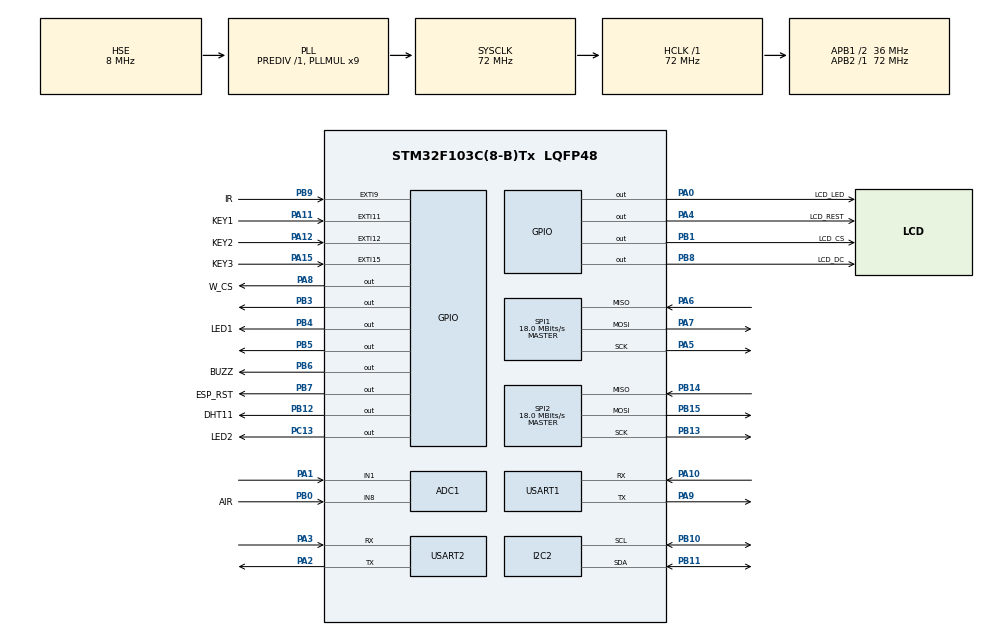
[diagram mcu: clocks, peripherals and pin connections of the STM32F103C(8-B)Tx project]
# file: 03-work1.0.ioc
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ADC1.Channel-0\#ChannelRegularConversion=ADC_CHANNEL_8
ADC1.NbrOfConversionFlag=1
ADC1.Rank-0\#ChannelRegularConversion=1
ADC1.SamplingTime-0\#ChannelRegularConversion=ADC_SAMPLETIME_239CYCLES_5
ADC1.master=1
FREERTOS.HEAP_NUMBER_OF_BYTES=8192
FREERTOS.Tasks01=defaultTask,0,256,StartDefaultTask,Default,NULL,Dynamic,NULL,NULL
Mcu.Family=STM32F1
Mcu.Name=STM32F103C(8-B)Tx
Mcu.Package=LQFP48
NVIC.EXTI15_10_IRQn=true\:5\:0\:false\:false\:true\:true\:true\:true\:true
NVIC.PriorityGroup=NVIC_PRIORITYGROUP_4
PA0-WKUP.GPIO_Label=LCD_LED
PA0-WKUP.GPIO_Speed=GPIO_SPEED_FREQ_HIGH
PA0-WKUP.Signal=GPIO_Output
PA1.Signal=ADCx_IN1
PA10.Mode=Asynchronous
PA10.Signal=USART1_RX
PA11.GPIO_Label=KEY1
PA11.GPIO_PuPd=GPIO_PULLUP
PA11.Signal=GPXTI11
PA12.GPIO_Label=KEY2
PA12.GPIO_PuPd=GPIO_PULLUP
PA12.Signal=GPXTI12
PA13.Mode=Serial_Wire
PA13.Signal=SYS_JTMS-SWDIO
PA14.Mode=Serial_Wire
PA14.Signal=SYS_JTCK-SWCLK
PA15.GPIO_Label=KEY3
PA15.GPIO_PuPd=GPIO_PULLUP
PA15.Signal=GPXTI15
PA2.Mode=Asynchronous
PA2.Signal=USART2_TX
PA3.Mode=Asynchronous
PA3.Signal=USART2_RX
PA4.GPIO_Label=LCD_REST
PA4.Signal=GPIO_Output
PA5.Mode=Full_Duplex_Master
PA5.Signal=SPI1_SCK
PA6.Mode=Full_Duplex_Master
PA6.Signal=SPI1_MISO
PA7.Mode=Full_Duplex_Master
PA7.Signal=SPI1_MOSI
PA8.GPIO_Label=W_CS
PA8.Signal=GPIO_Output
PA9.Mode=Asynchronous
PA9.Signal=USART1_TX
PB0.GPIO_Label=AIR
PB0.Signal=ADCx_IN8
PB1.GPIO_Label=LCD_CS
PB1.GPIO_Speed=GPIO_SPEED_FREQ_HIGH
PB1.Signal=GPIO_Output
PB10.Mode=I2C
PB10.Signal=I2C2_SCL
PB11.Mode=I2C
PB11.Signal=I2C2_SDA
PB12.GPIO_Label=DHT11
PB12.GPIO_PuPd=GPIO_PULLUP
PB12.Signal=GPIO_Output
PB13.Mode=Full_Duplex_Master
PB13.Signal=SPI2_SCK
PB14.Mode=Full_Duplex_Master
PB14.Signal=SPI2_MISO
PB15.Mode=Full_Duplex_Master
PB15.Signal=SPI2_MOSI
PB3.Signal=GPIO_Output
PB4.GPIO_Label=LED1
PB4.GPIO_ModeDefaultOutputPP=GPIO_MODE_OUTPUT_PP
PB4.GPIO_Speed=GPIO_SPEED_FREQ_HIGH
PB4.Signal=GPIO_Output
PB5.Signal=GPIO_Output
PB6.GPIO_Label=BUZZ
PB6.GPIO_Speed=GPIO_SPEED_FREQ_HIGH
PB6.Signal=GPIO_Output
PB7.GPIO_Label=ESP_RST
PB7.Signal=GPIO_Output
PB8.GPIO_Label=LCD_DC
PB8.GPIO_Speed=GPIO_SPEED_FREQ_HIGH
PB8.Signal=GPIO_Output
PB9.GPIO_Label=IR
PB9.GPIO_ModeDefaultEXTI=GPIO_MODE_IT_FALLING
PB9.Signal=GPXTI9
PC13-TAMPER-RTC.GPIO_Label=LED2
PC13-TAMPER-RTC.GPIO_Speed=GPIO_SPEED_FREQ_HIGH
PC13-TAMPER-RTC.Signal=GPIO_Output
PC14-OSC32_IN.Mode=LSE-External-Oscillator
PC14-OSC32_IN.Signal=RCC_OSC32_IN
PC15-OSC32_OUT.Mode=LSE-External-Oscillator
PC15-OSC32_OUT.Signal=RCC_OSC32_OUT
PD0-OSC_IN.Mode=HSE-External-Oscillator
PD0-OSC_IN.Signal=RCC_OSC_IN
PD1-OSC_OUT.Mode=HSE-External-Oscillator
PD1-OSC_OUT.Signal=RCC_OSC_OUT
ProjectManager.HeapSize=0x200
ProjectManager.StackSize=0x400
ProjectManager.TargetToolchain=MDK-ARM V5.32
RCC.ADCPresc=RCC_ADCPCLK2_DIV6
RCC.AHBFreq_Value=72000000
RCC.APB1CLKDivider=RCC_HCLK_DIV2
RCC.APB1Freq_Value=36000000
RCC.APB1TimFreq_Value=72000000
RCC.APB2Freq_Value=72000000
RCC.APB2TimFreq_Value=72000000
RCC.HCLKFreq_Value=72000000
RCC.PLLMUL=RCC_PLL_MUL9
RCC.PLLSourceVirtual=RCC_PLLSOURCE_HSE
RCC.SYSCLKFreq_VALUE=72000000
RCC.SYSCLKSource=RCC_SYSCLKSOURCE_PLLCLK
RCC.USBFreq_Value=72000000
SH.ADCx_IN1.0=ADC1_IN1,IN1
SH.ADCx_IN8.0=ADC1_IN8,IN8
SPI1.BaudRatePrescaler=SPI_BAUDRATEPRESCALER_4
SPI1.CalculateBaudRate=18.0 MBits/s
SPI1.Direction=SPI_DIRECTION_2LINES
SPI1.Mode=SPI_MODE_MASTER
SPI1.VirtualType=VM_MASTER
SPI2.CalculateBaudRate=18.0 MBits/s
SPI2.Direction=SPI_DIRECTION_2LINES
SPI2.Mode=SPI_MODE_MASTER
SPI2.VirtualType=VM_MASTER
USART1.VirtualMode=VM_ASYNC
USART2.VirtualMode=VM_ASYNC
VP_FREERTOS_VS_CMSIS_V1.Mode=CMSIS_V1
board=custom

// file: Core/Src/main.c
/* USER CODE BEGIN Header */
/**
  ******************************************************************************
  * @file           : main.c
  * @brief          : Main program body
  ******************************************************************************
  * @attention
  *
  * Copyright (c) 2026 STMicroelectronics.
  * All rights reserved.
  *
  * This software is licensed under terms that can be found in the LICENSE file
  * in the root directory of this software component.
  * If no LICENSE file comes with this software, it is provided AS-IS.
  *
  ******************************************************************************
  */
/* USER CODE END Header */
#include "main.h"
#include "cmsis_os.h"
#include "adc.h"
#include "i2c.h"
#include "spi.h"
#include "usart.h"
#include "gpio.h"

/* USER CODE BEGIN Includes */
#include "bsp_delay.h"
#include "bsp_debug.h"
#include "bsp_esp.h"
#include "flash_param.h"
#include "flash_ops.h"

/* USER CODE END Includes */

void SystemClock_Config(void);
void MX_FREERTOS_Init(void);

int main(void)
{

  /* MCU Configuration--------------------------------------------------------*/

  /* Reset of all peripherals, Initializes the Flash interface and the Systick. */
  HAL_Init();

  /* Configure the system clock */
  SystemClock_Config();

  /* Initialize all configured peripherals */
  MX_GPIO_Init();
  MX_ADC1_Init();
  MX_I2C2_Init();
  MX_SPI1_Init();
  MX_SPI2_Init();
  MX_USART1_UART_Init();
  MX_USART2_UART_Init();
  /* USER CODE BEGIN 2 */

  BSP_Delay_Init();   /* 使能 DWT 微秒计时（DHT11/BMP180 等驱动依赖） */
  ESP_Start();
  HAL_Delay(1500);
  ESP_SendATStateQuery();
  /* USER CODE END 2 */

  /* Call init function for freertos objects (in cmsis_os2.c) */
  MX_FREERTOS_Init();

  /* Start scheduler */
  osKernelStart();

  /* We should never get here as control is now taken by the scheduler */

  /* Infinite loop */
  while (1)
  {

  }
}

void SystemClock_Config(void)
{
  RCC_OscInitTypeDef RCC_OscInitStruct = {0};
  RCC_ClkInitTypeDef RCC_ClkInitStruct = {0};
  RCC_PeriphCLKInitTypeDef PeriphClkInit = {0};

  /** Initializes the RCC Oscillators according to the specified parameters
  * in the RCC_OscInitTypeDef structure.
  */
  RCC_OscInitStruct.OscillatorType = RCC_OSCILLATORTYPE_HSE;
  RCC_OscInitStruct.HSEState = RCC_HSE_ON;
  RCC_OscInitStruct.HSEPredivValue = RCC_HSE_PREDIV_DIV1;
  RCC_OscInitStruct.HSIState = RCC_HSI_ON;
  RCC_OscInitStruct.PLL.PLLState = RCC_PLL_ON;
  RCC_OscInitStruct.PLL.PLLSource = RCC_PLLSOURCE_HSE;
  RCC_OscInitStruct.PLL.PLLMUL = RCC_PLL_MUL9;
  if (HAL_RCC_OscConfig(&RCC_OscInitStruct) != HAL_OK)
  {
    Error_Handler();
  }

  /** Initializes the CPU, AHB and APB buses clocks
  */
  RCC_ClkInitStruct.ClockType = RCC_CLOCKTYPE_HCLK|RCC_CLOCKTYPE_SYSCLK
                              |RCC_CLOCKTYPE_PCLK1|RCC_CLOCKTYPE_PCLK2;
  RCC_ClkInitStruct.SYSCLKSource = RCC_SYSCLKSOURCE_PLLCLK;
  RCC_ClkInitStruct.AHBCLKDivider = RCC_SYSCLK_DIV1;
  RCC_ClkInitStruct.APB1CLKDivider = RCC_HCLK_DIV2;
  RCC_ClkInitStruct.APB2CLKDivider = RCC_HCLK_DIV1;

  if (HAL_RCC_ClockConfig(&RCC_ClkInitStruct, FLASH_LATENCY_2) != HAL_OK)
  {
    Error_Handler();
  }
  PeriphClkInit.PeriphClockSelection = RCC_PERIPHCLK_ADC;
  PeriphClkInit.AdcClockSelection = RCC_ADCPCLK2_DIV6;
  if (HAL_RCCEx_PeriphCLKConfig(&PeriphClkInit) != HAL_OK)
  {
    Error_Handler();
  }
}

void Error_Handler(void)
{
  __disable_irq();
  while (1)
  {
  }
}

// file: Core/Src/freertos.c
/* USER CODE BEGIN Header */
/**
  ******************************************************************************
  * File Name          : freertos.c
  * Description        : Code for freertos applications
  ******************************************************************************
  * @attention
  *
  * Copyright (c) 2026 STMicroelectronics.
  * All rights reserved.
  *
  * This software is licensed under terms that can be found in the LICENSE file
  * in the root directory of this software component.
  * If no LICENSE file comes with this software, it is provided AS-IS.
  *
  ******************************************************************************
  */
/* USER CODE END Header */

#include "FreeRTOS.h"
#include "task.h"
#include "main.h"
#include "cmsis_os.h"

/* USER CODE BEGIN Includes */
#include "bsp_debug.h"
#include "led.h"
#include "buzzer.h"
#include "relay.h"
#include "dht11.h"
#include "mq5.h"
#include "light.h"
#include "bmp180.h"
#include "w25q64.h"
#include "lcd.h"
#include "bsp_key.h"
#include "infrared.h"   /* 红外适配层（内部含 ir_decode.h 解码器） */
#include "gui_page.h"
#include "app_data.h"
#include <string.h>   /* memcmp 用 */
#include "bsp_esp.h"   /* ESP 接口层 */
#include "fw_ota.h"    /* M9.3d: OTA 会话状态机 */
#include "usart.h"
#include <stdio.h>    /* snprintf */
#include <stdlib.h>   /* strtol（S4：解析下行设置项的值，不用 atof 以避开浮点库） */

/* USER CODE END Includes */

/* USER CODE BEGIN Variables */
static void StartSensorTask(void const * argument);
static void StartCtrlTask(void const * argument);

osMutexDef(appMutex);       /*定义互斥锁*/
osMutexId xAppMutex = NULL; /*句柄在 Init 里创建 , (互斥锁的名称)*/
osThreadDef(sensorTask, StartSensorTask, osPriorityNormal, 0, 256); /* 传感器任务 */
osThreadDef(ctrlTask, StartCtrlTask, osPriorityNormal, 0, 256);     /* 控制任务：报警判定+输出 */

/* USER CODE END Variables */
osThreadId defaultTaskHandle;

void StartDefaultTask(void const * argument);

void MX_FREERTOS_Init(void); /* (MISRA C 2004 rule 8.1) */

/* GetIdleTaskMemory prototype (linked to static allocation support) */
void vApplicationGetIdleTaskMemory( StaticTask_t **ppxIdleTaskTCBBuffer, StackType_t **ppxIdleTaskStackBuffer, uint32_t *pulIdleTaskStackSize );

/* USER CODE BEGIN GET_IDLE_TASK_MEMORY */
static StaticTask_t xIdleTaskTCBBuffer;
static StackType_t xIdleStack[configMINIMAL_STACK_SIZE];

void vApplicationGetIdleTaskMemory( StaticTask_t **ppxIdleTaskTCBBuffer, StackType_t **ppxIdleTaskStackBuffer, uint32_t *pulIdleTaskStackSize )
{
  *ppxIdleTaskTCBBuffer = &xIdleTaskTCBBuffer;
  *ppxIdleTaskStackBuffer = &xIdleStack[0];
  *pulIdleTaskStackSize = configMINIMAL_STACK_SIZE;
  /* place for user code */
}
/* USER CODE END GET_IDLE_TASK_MEMORY */

void MX_FREERTOS_Init(void) {
  /* USER CODE BEGIN Init */
  xAppMutex = osMutexCreate(osMutex(appMutex)); /* 创建互斥锁 , 在任务跑起来之前存在*/
  ESP_TxMutexInit();                  /* ESP 发送仲裁锁: 同处创建, 见 bsp_esp.c */
  /* USER CODE END Init */

  /* Create the thread(s) */
  /* definition and creation of defaultTask */
  osThreadDef(defaultTask, StartDefaultTask, osPriorityNormal, 0, 256);
  defaultTaskHandle = osThreadCreate(osThread(defaultTask), NULL);

  /* USER CODE BEGIN RTOS_THREADS */
  /* add threads, ... */
  osThreadCreate(osThread(sensorTask), NULL);
  osThreadCreate(osThread(ctrlTask), NULL);
  /* USER CODE END RTOS_THREADS */

}

/* USER CODE BEGIN Header_StartDefaultTask */

/* UI 已迁往 HARDWARE/lcd/page_main.c（仪表盘页）和 page_setting.c（设置页），
 * 由 gui_page.c 页面管理器统一调度；本文件只负责"采集数据 + 喂页面" */

/**
  * @brief  W25Q64 自检：擦 → 写 → 读回比对（只在上电时跑一次）
  * @note   Flash 驱动的标准验收流程；函数必须定义在任务函数"外面"
  */
static void W25Q64_SelfTest(void)
{
    uint8_t  wr[16] = "Hello W25Q64!";
    uint8_t  rd[16] = {0};
    uint32_t addr   = 0x000000;   /* 扇区0，页0 */

    if (W25Q64_Init() != 0)
    {
        DBG_Printf("W25Q64: Init FAIL (ID error)\r\n");
        return;
    }

    W25Q64_EraseSector(addr);
    W25Q64_WritePage(addr, wr, 14);
    W25Q64_Read(addr, rd, 14);

    DBG_Printf("W25Q64: rd=%s  %s\r\n", rd,
               (memcmp(wr, rd, 14) == 0) ? "[OK]" : "[MISMATCH]");
}

static void StartSensorTask(void const * argument)
{
  DHT11_Data_t dht;
  uint8_t ret;
  int32_t bmp_p , bmp_t;
  uint8_t bmp_ok;
  uint16_t mq5_raw, mq5_level;
  uint16_t light_level;
  uint8_t alarm_now;          /* M3.3: 锁内拷出的报警状态(发云端用) */
  uint16_t set_temp_hi;       /* M3.5/S2: 锁内拷出的当前生效阈值(回传给云端) */
  uint16_t set_sample_ms;     /* M3.5/S2: 锁内拷出的当前采样周期 */
  uint32_t last_sample_tick;  /* M3.5/S5: 上次真正采样的时刻(HAL_GetTick, ms) */
  uint8_t  first_loop;        /* M3.5/S5: 首圈强制采样(否则大周期时首帧发的是未初始化局部变量) */

  last_sample_tick = 0;
  first_loop = 1;

  LIGHT_Init();
  /* BMP180 初始化（芯片在位检测 + 读校准系数） */
  ret = BMP180_Init();
  if (ret != 0)
  {
    DBG_Printf("BMP180 init FAIL, err=%d\r\n", ret);
    // g_app_view.bmp_ok = 0;
  }
  else
  {
    // DBG_Printf("BMP180 init OK\r\n");
  }

  for(;;)
  {
      /* ---- S4b: 落盘云端新设置 ----
       * Setting_Save() 是扇区擦写（几十~几百 ms），只配待在 SensorTask 这种慢任务里，
       * 绝不能进 UITask 的 20ms 循环（同坑 24）。
       * 顺序讲究"先清标志、再保存"：若保存期间又来了新 SET，标志会再次置位，
       * 下一圈再存一次（多存一次无害）；反过来"先存后清"则可能把保存期间
       * 到达的新设置丢掉（存的是旧值、标志还被清了）。
       * 注：保存期间 g_set 理论上可能被云端再次修改（保存没拿锁，锁内不做慢事），
       * 极端情况 Flash 里会存到"新旧混合"的值 —— 每个字段都合法，Load 校验能过，
       * 影响仅限一次设置周期，可接受。 */
      /* M9.3d: OTA 会话独占 W25Q64(staging 写入), 期间推迟落盘 ——
       * 脏标志保持置位, OTA 结束/放弃后的下一圈补存, 设置不丢。
       * (两条路都用 W25Q64 却没有互斥, 靠"同一时刻只有一个使用者"约定) */
      if (g_set_dirty && (FWOTA_Active() == 0U))
      {
          g_set_dirty = 0U;
          if (Setting_Save() != 0)
          {
              DBG_Printf("SET: Flash save FAIL\r\n");
          }
      }

      /* ---- M3.5/S5: 采集分频 —— "采样"与"上报"解耦 ----
       * 上报固定 2s 一圈（保活必须），但只有距上次采样 ≥ sample_ms 才真正读传感器；
       * 未到期的圈沿用上一轮的局部变量值 —— 上行帧内容不变、保活不断。
       * 这就是把局部变量声明在 for(;;) 外面的原因：跨圈保持（C 作用域设计）。
       *
       * 两处细节:
       * ① 减法写法 (now - last) >= period 而不是 (now >= last + period)：
       *    HAL_GetTick 49.7 天回绕，无符号减法天然免疫回绕，加法则会翻车。
       * ② first_loop 首圈强制采样：开机时 tick 只有 ~2s，若 sample_ms 设了
       *    60000，没有这个标志首圈就不采样，发出去的是未初始化局部变量（垃圾）。
       *
       * DHT11 物理限制：单次读取 ≥1s（数据手册）。sample_ms < 2000 时 DHT 会
       * 频繁 FAIL，帧自动降级为不带 temp/humi（宁缺不假）—— 设计行为非故障。
       * g_set.sample_ms 是 16 位对齐读，单条指令完成，原子，无需加锁。 */
      if (first_loop ||
          ((HAL_GetTick() - last_sample_tick) >= (uint32_t)g_set.sample_ms))
      {
          first_loop = 0;
          last_sample_tick = HAL_GetTick();

          /* DHT11 温湿度 */
          ret = DHT11_Read(&dht);
          mq5_raw = MQ5_ReadRaw();
          mq5_level = MQ5_ReadLevel();
          light_level = LIGHT_ReadLevel();
          bmp_t = BMP180_ReadTemp();
          bmp_p = BMP180_ReadPressure(2);
          bmp_ok = ((bmp_t != 0x7FFF) && (bmp_p != 0));
      }
      /* else: 未到采样点 —— 沿用上轮局部变量，直接走提交+上报 */

        osMutexWait(xAppMutex, osWaitForever);   /* ③ 提交：锁内一口气写 g_app（注意！不是 g_app_view） */
        g_app.dht_ok = (ret == 0);
        if (ret == 0)
        {
          g_app.temp_int = dht.temp_int;
          g_app.temp_dec = dht.temp_dec;
          g_app.humi_int = dht.humi_int;
          g_app.humi_dec = dht.humi_dec;
          // DBG_Printf("DHT11: H=%d.%d%% T=%d.%d C\r\n",
          //            dht.humi_int, dht.humi_dec,
          //            dht.temp_int, dht.temp_dec);
        }
        else
        {
          /* 2=校验失败 3=超时/无应答；失败时 g_app_view 旧值保留但 dht_ok=0，
          * 页面会显示 "--"（物理量冻结 + 可信标志，两个概念分开） */
          DBG_Printf("DHT11: FAIL err=%d raw=%02X %02X %02X %02X %02X\r\n",
                    ret, dht.humi_int, dht.humi_dec,
                    dht.temp_int, dht.temp_dec, dht.checksum);
        }

                  /* MQ5 气体（读一次存 g_app_view UI 共用） */
          g_app.mq5_raw   = mq5_raw;
          g_app.mq5_level = mq5_level;
        //  DBG_Printf("MQ5 : raw=%d level=%d\r\n", g_app.mq5_raw, g_app.mq5_level);

          /* 光敏 */
        //  g_app_view.light_raw   = LIGHT_ReadRaw();
        //  g_app_view.light_level = LIGHT_ReadLevel();
        //  DBG_Printf("LIGHT: raw=%d level=%d\r\n", g_app_view.light_raw, g_app_view.light_level);

          /*光敏 : 二值读法*/
          g_app.light_level = light_level;
          // DBG_Printf("LIGHT: level=%d\r\n", g_app.light_level);
          // DBG_Printf("IR: key_evt=%d\r\n", key_evt);

          /* BMP180 气压/温度（oss=2；T 单位 0.1°C，P 单位 Pa） */
          g_app.bmp_t = bmp_t;
          g_app.bmp_p = bmp_p;
          g_app.bmp_ok = bmp_ok;
          if (g_app.bmp_ok)
          {
            // DBG_Printf("BMP180: T=%d.%d C P=%ld Pa\r\n",
            //            (int)(g_app_view.bmp_t / 10), (int)(g_app_view.bmp_t % 10),
            //            (long)g_app_view.bmp_p);
          }
          else
          {
            DBG_Printf("BMP180: read FAIL\r\n");
          }
          alarm_now    = g_alarm_gas;    /* M3.3: 锁内只拷 1 个标量 */
          set_temp_hi  = g_set.temp_max; /* S2: 回传"当前生效"的阈值 */
          set_sample_ms = g_set.sample_ms;
          g_app.seq++;
          osMutexRelease(xAppMutex);   /* 释放 g_app_view 锁 */

                  /* ---- M3.3 上行: 锁外拼 JSON → 发给 ESP ----
         * ① 数据用锁外已有的局部变量(dht/mq5_level/light_level), 不必再读 g_app
         * ② 2s 一帧 → 天然满足契约"每 5s 至少一帧"的保活要求
         * ③ 拼串 + 发送共约 5ms, 必须放锁外 */
        {
          char        frame[160];    /* 加了 temp_hi/sample_ms 后满帧约 105 字符 */
          int32_t     n;
          const char *alarm_str = (0U != alarm_now) ? "true" : "false";

          if (0 == ret)   /* DHT11 有效才带 temp/humi; 失败时 raw 是垃圾, 不能上云 */
          {
            n = snprintf(frame, sizeof(frame),
                         "{\"temp\":%u.%u,\"humi\":%u.%u,\"light_level\":%u,\"gas_level\":%u,"
                         "\"alarm\":%s,\"temp_hi\":%u.0,\"sample_ms\":%u}",
                         (unsigned)dht.temp_int, (unsigned)dht.temp_dec,
                         (unsigned)dht.humi_int, (unsigned)dht.humi_dec,
                         (unsigned)light_level, (unsigned)mq5_level,
                         alarm_str,
                         (unsigned)set_temp_hi, (unsigned)set_sample_ms);
          }
          else
          {
            n = snprintf(frame, sizeof(frame),
                         "{\"light_level\":%u,\"gas_level\":%u,\"alarm\":%s,"
                         "\"temp_hi\":%u.0,\"sample_ms\":%u}",        /*`%u.0` 里的`.0` 是字面文本 ，不是格式符 ——`%u` 吃掉一个参数后，`.` 和`0` 原样输出，所以`35` 会变成`35.0` 。这就是"整数存的是阈值，但发出去是 double"的桥*/
                         (unsigned)light_level, (unsigned)mq5_level,
                         alarm_str,
                         (unsigned)set_temp_hi, (unsigned)set_sample_ms);
          }

          if ((n > 0) && (n < (int32_t)sizeof(frame)))
          {
            ESP_SendLine(frame, (uint16_t)n);
            DBG_Printf("TX: %s\r\n", frame);  /* 测试期回显, M3.4 验完删 */
          }
        }

        osDelay(2000);  /* 每 2s 采集一次 */
  }
}

/**
  * @brief  控制任务：输出设备初始化 + 驱动自检 + 报警状态机
  * @note   LED/蜂鸣器/继电器的 init 全部搬到这里（谁用谁初始化）——
  *         若 Alarm_Tick 在 BUZZ_Init 之前碰到 PWM 零句柄会 HardFault，
  *         同一任务内顺序执行，先后顺序天然保证
  */
void StartCtrlTask(void const * argument)
{
  LED_Init();
  BUZZ_Init();
  RELAY_Init();

  /* 上电驱动自检（蜂鸣器硬件修好后，报警 beep 本身就是复测） */
  LED_On(LED1);
  osDelay(500);
  LED_Off(LED1);
  osDelay(500);
  LED_On(LED2);
  osDelay(500);
  LED_Off(LED2);
  RELAY_ON();
  osDelay(1000);
  RELAY_OFF();
  osDelay(500);

  Alarm_Init();

  for(;;)
  {
    Alarm_Tick();
    osDelay(100);
  }
}

/* ================= M3.5/S4: 云端下行设置命令处理 =================
 * 数据流: OneNET 下发 → ESP 转成 "SET,key=val\n" → bsp_esp 拆进命令槽
 *         → 这里取走 → 业务校验 → 锁内写 g_set → 锁外回 ACK
 *
 * 三条铁律（全部来自前面踩过的坑）:
 *   ① 写 g_set 必须进 xAppMutex —— CtrlTask 是在锁内读阈值的；
 *   ② 回 ACK 必须在锁外 —— ESP_SendLine 自己会拿 TX 锁，两把锁绝不嵌套；
 *   ③ 落盘不在这里 —— Setting_Save() 是扇区擦写（几十~几百 ms），会把这 20ms 的
 *      UI 循环冻住（同坑 24"慢事不进快循环"）→ 交给 SensorTask，见 S4b。
 *
 * 定义位置有意放在 StartDefaultTask 之前：调用点在同一函数里，
 * 这样天然不用前置声明，避开"定义在使用之后"那个老坑（坑 42）。 */
static void ESP_HandleSetCommand(void)
{
    ESP_SetCmd_t cmd;
    int32_t      v = 0;
    uint8_t      applied = 0U;

    if (0U == ESP_GetSetCommand(&cmd))
    {
        return;                                     /* 当前没有新命令 */
    }

    if (0 == strcmp(cmd.key, "temp_hi"))
    {
        /* 物模型 temp_hi 是 double，云端滑块可能发 40.5 → 四舍五入成整数 °C。
         * 做法：strtol 取整数部分，再看第一位小数决定是否进位（不用 atof，避开浮点库）。
         * 注：合法范围 5~60，负数会在下面的界限检查里被拒，所以不必处理符号。 */
        char   *endp = NULL;
        int32_t ip   = (int32_t)strtol(cmd.val, &endp, 10);
        int32_t add  = ((endp != NULL) && ('.' == *endp) &&
                        (endp[1] >= '5') && (endp[1] <= '9')) ? 1 : 0;

        v = ip + add;

        if ((v >= (int32_t)DL_TEMP_MAX_LO) && (v <= (int32_t)DL_TEMP_MAX_HI))
        {
            osMutexWait(xAppMutex, osWaitForever);
            g_set.temp_max = (uint16_t)v;
            osMutexRelease(xAppMutex);
            applied = 1U;
        }
    }
    else if (0 == strcmp(cmd.key, "sample_ms"))
    {
        v = (int32_t)strtol(cmd.val, NULL, 10);

        if ((v >= (int32_t)SET_SAMPLE_MS_LO) && (v <= (int32_t)SET_SAMPLE_MS_HI))
        {
            osMutexWait(xAppMutex, osWaitForever);
            g_set.sample_ms = (uint16_t)v;
            osMutexRelease(xAppMutex);
            applied = 1U;
        }
    }
    /* 其它键名：applied 保持 0 → 走下面的拒绝分支 */

    if (0U == applied)
    {
        /* 未知键 / 越界 → 不回 ACK。
         * 理由：回 ACK 等于骗云端"已生效"；不回 ACK，云端的 3s 超时才是真实的失败信号。 */
        DBG_Printf("SET: REJECT key=%s val=%s\r\n", cmd.key, cmd.val);
        return;
    }

    /* S4b: 标记待落盘。真正的 Setting_Save() 由 SensorTask 圈首执行 ——
     * 这里的职责只到"改内存 + 回 ACK"为止（ACK 3s 期限内必须出去）。 */
    g_set_dirty = 1U;

    /* 回"实际生效值"（不是请求值）—— 让云端显示的与设备真正执行的一致。
     * 例：云端发 40.5，设备四舍五入成 41，就回 ACK,temp_hi=41。 */
    {
        char ack[64];
        int  n = snprintf(ack, sizeof(ack), "ACK,%s=%ld", cmd.key, (long)v);

        if ((n > 0) && (n < (int)sizeof(ack)))
        {
            ESP_SendLine(ack, (uint16_t)n);         /* 自带 TX 仲裁锁，此处无需再锁 */
            DBG_Printf("SET: %s -> %ld (ACK sent)\r\n", cmd.key, (long)v);
        }
    }
}

/**
  * @brief  Function implementing the defaultTask thread.
  * @param  argument: Not used
  * @retval None
  */
/* USER CODE END Header_StartDefaultTask */
void StartDefaultTask(void const * argument)
{
  /* USER CODE BEGIN StartDefaultTask */

  uint8_t  key_evt;
  IR_Data_t ir_data;   /* 红外解码结果（infrared.h → ir_decode.h） */

  IR_Init();    /* NEC 红外接收（EXTI9+DWT，依赖 DWT 已启动，main.c 里已 BSP_Delay_Init） */

  DBG_Printf("\r\n========= Home IoT Node Start (v1.1) =========\r\n");  /* 版本号: OTA 前后对比升级效果的视觉证据 (M9.3d) */

  /* M4: W25Q64 自检（上电跑一次，占用扇区0） */
  W25Q64_SelfTest();

  /* LCD 初始化 + 背光 */
  LCD_Init();
  LCD_LED_ON();

  /* 阈值：上电从 Flash 恢复（无效则用默认值） */
  Setting_Load();

  /* 页面管理器启动：画第一屏（仪表盘） */
  GUI_Page_Init();

  /* 主循环节拍：20ms 一圈
   *  - 每 2s  采集一次传感器 → 写 g_app_view
   *  - 每 20ms 扫按键 + 刷新当前页面（消费者）
   * 这就是"分频调度"：不同周期的事在同一个循环里用时间戳分流 */
  for(;;)
  {

      /* ESP 链路: 非阻塞排空环形缓冲 → 拼行 → 白名单过滤 */
      ESP_PollLine();
      ESP_HandleSetCommand();     /* M3.5/S4: 处理云端下行设置命令(必须在 ESP_PollLine 之后) */
      FWOTA_Poll();               /* M9.3d: OTA 会话状态机(取 FW 行/擦 staging/超时看门狗) */

    /* ---- 快事：按键事件 → 页面 → 刷新 ----
     * 两个输入源统一成 KEY_EVT_* 事件码：板载按键 + 红外遥控（上/下/OK） */
    key_evt = KEY_Scan();
    if (key_evt == KEY_EVT_NONE)
    {
      key_evt = IR_GetKeyEvent();   /* 板载无事件再问遥控（读-清语义，不丢帧） */
    }
        /* ★ 报警拦截：短按 OK = 消音，事件吃掉（页面不响应） */
    if ((key_evt == KEY_EVT_3) && (g_alarm_gas != 0U) && (g_buzzer_mute == 0U))
    {
        g_buzzer_mute = 1U;
        key_evt = KEY_EVT_NONE;
    }

    if (key_evt != KEY_EVT_NONE)
    {
      GUI_Page_OnKey(key_evt);
    }

    osMutexWait(xAppMutex, osWaitForever);  /* 保护 g_app_view，避免被其他任务修改 */
    g_app_view = g_app; /* 复制 g_app 到 g_app_view */
    osMutexRelease(xAppMutex);   /* 释放 g_app_view 锁 */

    GUI_Page_Update();

    osDelay(20);   /* 节拍：按键消抖 + 降低功耗，页面更新足够跟手 */
  }
  /* USER CODE END StartDefaultTask */
}
